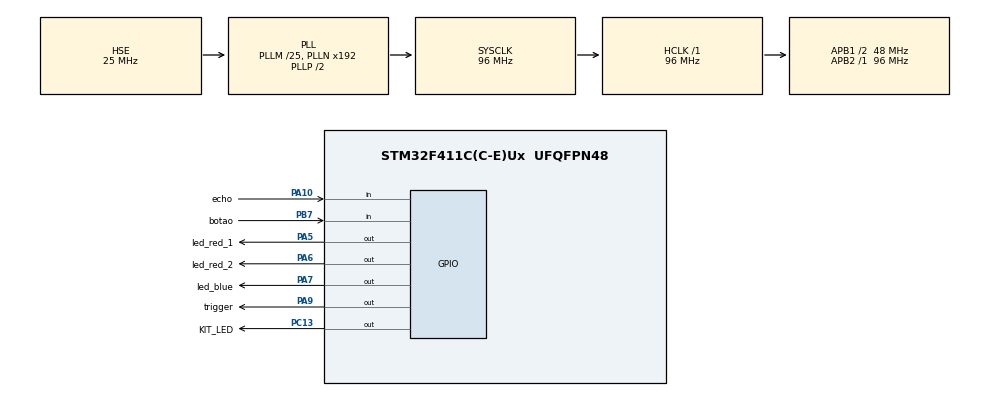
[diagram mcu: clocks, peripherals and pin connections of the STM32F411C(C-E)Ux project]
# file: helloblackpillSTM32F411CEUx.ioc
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Mcu.Family=STM32F4
Mcu.Name=STM32F411C(C-E)Ux
Mcu.Package=UFQFPN48
NVIC.PriorityGroup=NVIC_PRIORITYGROUP_4
PA10.GPIO_Label=echo
PA10.Signal=GPIO_Input
PA13.Mode=Serial_Wire
PA13.Signal=SYS_JTMS-SWDIO
PA14.Mode=Serial_Wire
PA14.Signal=SYS_JTCK-SWCLK
PA5.GPIO_Label=led_red_1
PA5.Signal=GPIO_Output
PA6.GPIO_Label=led_red_2
PA6.Signal=GPIO_Output
PA7.GPIO_Label=led_blue
PA7.Signal=GPIO_Output
PA9.GPIO_Label=trigger
PA9.Signal=GPIO_Output
PB7.GPIO_Label=botao
PB7.Signal=GPIO_Input
PC13-ANTI_TAMP.GPIO_Label=KIT_LED
PC13-ANTI_TAMP.Signal=GPIO_Output
PC14-OSC32_IN.Mode=LSE-External-Oscillator
PC14-OSC32_IN.Signal=RCC_OSC32_IN
PC15-OSC32_OUT.Mode=LSE-External-Oscillator
PC15-OSC32_OUT.Signal=RCC_OSC32_OUT
PH0\ -\ OSC_IN.Mode=HSE-External-Oscillator
PH0\ -\ OSC_IN.Signal=RCC_OSC_IN
PH1\ -\ OSC_OUT.Mode=HSE-External-Oscillator
PH1\ -\ OSC_OUT.Signal=RCC_OSC_OUT
ProjectManager.HeapSize=0x200
ProjectManager.StackSize=0x400
ProjectManager.TargetToolchain=Makefile
RCC.48MHZClocksFreq_Value=48000000
RCC.AHBFreq_Value=96000000
RCC.APB1CLKDivider=RCC_HCLK_DIV2
RCC.APB1Freq_Value=48000000
RCC.APB1TimFreq_Value=96000000
RCC.APB2Freq_Value=96000000
RCC.APB2TimFreq_Value=96000000
RCC.CortexFreq_Value=96000000
RCC.HCLKFreq_Value=96000000
RCC.HSE_VALUE=25000000
RCC.HSI_VALUE=16000000
RCC.PLLM=25
RCC.PLLSourceVirtual=RCC_PLLSOURCE_HSE
RCC.SYSCLKFreq_VALUE=96000000
RCC.SYSCLKSource=RCC_SYSCLKSOURCE_PLLCLK
RCC.VCOOutputFreq_Value=192000000
board=custom

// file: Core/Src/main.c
/* USER CODE BEGIN Header */
/**
  ******************************************************************************
  * @file           : main.c
  * @brief          : Main program body
  ******************************************************************************
  * @attention
  *
  * Copyright (c) 2022 STMicroelectronics.
  * All rights reserved.
  *
  * This software is licensed under terms that can be found in the LICENSE file
  * in the root directory of this software component.
  * If no LICENSE file comes with this software, it is provided AS-IS.
  *
  ******************************************************************************
  */
/* USER CODE END Header */
#include "main.h"
#include "button.h"

void SystemClock_Config(void);
static void MX_GPIO_Init(void);

int main(void)
{
  /* USER CODE BEGIN 1 */
  int contagem;
  uint32_t i;
  /* USER CODE END 1 */

  /* MCU Configuration--------------------------------------------------------*/

  /* Reset of all peripherals, Initializes the Flash interface and the Systick. */
  HAL_Init();

  /* Configure the system clock */
  SystemClock_Config();

  /* Initialize all configured peripherals */
  MX_GPIO_Init();

  /* Infinite loop */
  /* USER CODE BEGIN WHILE */

  while (1)
  {
    for(i=0;i<15;i++){

      if (button_release(GPIOB, botao_Pin,0)){
         contagem=0;
         HAL_GPIO_WritePin(GPIOA, trigger_Pin, 1);
         HAL_Delay(120);
         HAL_GPIO_WritePin(GPIOA, trigger_Pin, 0);
         while(!HAL_GPIO_ReadPin(GPIOA, echo_Pin)){

         }
         while(HAL_GPIO_ReadPin(GPIOA, echo_Pin)){
          contagem++;

         }
         if (contagem>=1900){
          HAL_GPIO_WritePin(GPIOA,led_blue_Pin,1);
          HAL_GPIO_WritePin(GPIOA,led_red_1_Pin,0);
          HAL_GPIO_WritePin(GPIOA,led_red_2_Pin,0);
         }
         else{
          HAL_GPIO_WritePin(GPIOA,led_blue_Pin,0);
          HAL_GPIO_WritePin(GPIOA,led_red_1_Pin,1);
          HAL_GPIO_WritePin(GPIOA,led_red_2_Pin,1);
         }

      }

      HAL_Delay(27);

    }
    HAL_GPIO_TogglePin(KIT_LED_GPIO_Port, KIT_LED_Pin);

    /* USER CODE END WHILE */

  }
}

void SystemClock_Config(void)
{
  RCC_OscInitTypeDef RCC_OscInitStruct = {0};
  RCC_ClkInitTypeDef RCC_ClkInitStruct = {0};

  /** Configure the main internal regulator output voltage
  */
  __HAL_RCC_PWR_CLK_ENABLE();
  __HAL_PWR_VOLTAGESCALING_CONFIG(PWR_REGULATOR_VOLTAGE_SCALE1);

  /** Initializes the RCC Oscillators according to the specified parameters
  * in the RCC_OscInitTypeDef structure.
  */
  RCC_OscInitStruct.OscillatorType = RCC_OSCILLATORTYPE_HSE;
  RCC_OscInitStruct.HSEState = RCC_HSE_ON;
  RCC_OscInitStruct.PLL.PLLState = RCC_PLL_ON;
  RCC_OscInitStruct.PLL.PLLSource = RCC_PLLSOURCE_HSE;
  RCC_OscInitStruct.PLL.PLLM = 25;
  RCC_OscInitStruct.PLL.PLLN = 192;
  RCC_OscInitStruct.PLL.PLLP = RCC_PLLP_DIV2;
  RCC_OscInitStruct.PLL.PLLQ = 4;
  if (HAL_RCC_OscConfig(&RCC_OscInitStruct) != HAL_OK)
  {
    Error_Handler();
  }

  /** Initializes the CPU, AHB and APB buses clocks
  */
  RCC_ClkInitStruct.ClockType = RCC_CLOCKTYPE_HCLK|RCC_CLOCKTYPE_SYSCLK
                              |RCC_CLOCKTYPE_PCLK1|RCC_CLOCKTYPE_PCLK2;
  RCC_ClkInitStruct.SYSCLKSource = RCC_SYSCLKSOURCE_PLLCLK;
  RCC_ClkInitStruct.AHBCLKDivider = RCC_SYSCLK_DIV1;
  RCC_ClkInitStruct.APB1CLKDivider = RCC_HCLK_DIV2;
  RCC_ClkInitStruct.APB2CLKDivider = RCC_HCLK_DIV1;

  if (HAL_RCC_ClockConfig(&RCC_ClkInitStruct, FLASH_LATENCY_3) != HAL_OK)
  {
    Error_Handler();
  }
}

static void MX_GPIO_Init(void)
{
  GPIO_InitTypeDef GPIO_InitStruct = {0};

  /* GPIO Ports Clock Enable */
  __HAL_RCC_GPIOC_CLK_ENABLE();
  __HAL_RCC_GPIOH_CLK_ENABLE();
  __HAL_RCC_GPIOA_CLK_ENABLE();
  __HAL_RCC_GPIOB_CLK_ENABLE();

  /*Configure GPIO pin Output Level */
  HAL_GPIO_WritePin(KIT_LED_GPIO_Port, KIT_LED_Pin, GPIO_PIN_RESET);

  /*Configure GPIO pin Output Level */
  HAL_GPIO_WritePin(GPIOA, led_red_1_Pin|led_red_2_Pin|led_blue_Pin|trigger_Pin, GPIO_PIN_RESET);

  /*Configure GPIO pin : KIT_LED_Pin */
  GPIO_InitStruct.Pin = KIT_LED_Pin;
  GPIO_InitStruct.Mode = GPIO_MODE_OUTPUT_PP;
  GPIO_InitStruct.Pull = GPIO_NOPULL;
  GPIO_InitStruct.Speed = GPIO_SPEED_FREQ_LOW;
  HAL_GPIO_Init(KIT_LED_GPIO_Port, &GPIO_InitStruct);

  /*Configure GPIO pins : led_red_1_Pin led_red_2_Pin led_blue_Pin trigger_Pin */
  GPIO_InitStruct.Pin = led_red_1_Pin|led_red_2_Pin|led_blue_Pin|trigger_Pin;
  GPIO_InitStruct.Mode = GPIO_MODE_OUTPUT_PP;
  GPIO_InitStruct.Pull = GPIO_NOPULL;
  GPIO_InitStruct.Speed = GPIO_SPEED_FREQ_LOW;
  HAL_GPIO_Init(GPIOA, &GPIO_InitStruct);

  /*Configure GPIO pin : echo_Pin */
  GPIO_InitStruct.Pin = echo_Pin;
  GPIO_InitStruct.Mode = GPIO_MODE_INPUT;
  GPIO_InitStruct.Pull = GPIO_NOPULL;
  HAL_GPIO_Init(echo_GPIO_Port, &GPIO_InitStruct);

  /*Configure GPIO pin : botao_Pin */
  GPIO_InitStruct.Pin = botao_Pin;
  GPIO_InitStruct.Mode = GPIO_MODE_INPUT;
  GPIO_InitStruct.Pull = GPIO_NOPULL;
  HAL_GPIO_Init(botao_GPIO_Port, &GPIO_InitStruct);

}

void Error_Handler(void)
{
  __disable_irq();
  while (1)
  {
  }
}
